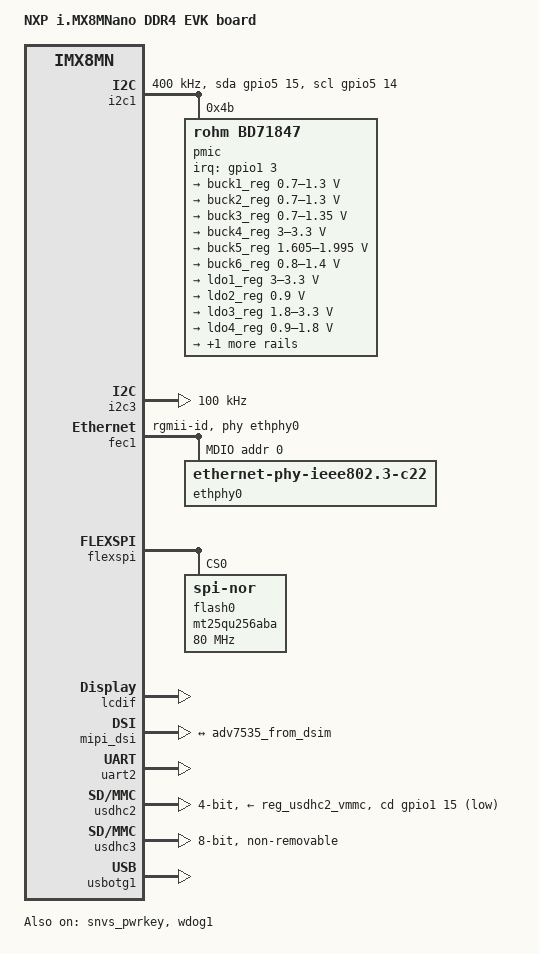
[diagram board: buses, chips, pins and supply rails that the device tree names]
// SPDX-License-Identifier: (GPL-2.0+ OR MIT)
/*
 * Copyright 2019 NXP
 */

/dts-v1/;

#include <dt-bindings/usb/pd.h>
#include "imx8mn.dtsi"
#include "imx8mn-evk.dtsi"

/ {
	model = "NXP i.MX8MNano DDR4 EVK board";
	compatible = "fsl,imx8mn-ddr4-evk", "fsl,imx8mn";
};

&A53_0 {
	cpu-supply = <&buck2_reg>;
};

&A53_1 {
	cpu-supply = <&buck2_reg>;
};

&A53_2 {
	cpu-supply = <&buck2_reg>;
};

&A53_3 {
	cpu-supply = <&buck2_reg>;
};

&ddrc {
	operating-points-v2 = <&ddrc_opp_table>;

	ddrc_opp_table: opp-table {
		compatible = "operating-points-v2";

		opp-25M {
			opp-hz = /bits/ 64 <25000000>;
		};

		opp-100M {
			opp-hz = /bits/ 64 <100000000>;
		};

		opp-600M {
			opp-hz = /bits/ 64 <600000000>;
		};
	};
};

&i2c1 {
	pmic@4b {
		compatible = "rohm,bd71847";
		reg = <0x4b>;
		pinctrl-names = "default";
		pinctrl-0 = <&pinctrl_pmic>;
		interrupt-parent = <&gpio1>;
		interrupts = <3 IRQ_TYPE_LEVEL_LOW>;
		rohm,reset-snvs-powered;

		regulators {
			buck1_reg: BUCK1 {
				regulator-name = "buck1";
				regulator-min-microvolt = <700000>;
				regulator-max-microvolt = <1300000>;
				regulator-boot-on;
				regulator-always-on;
				regulator-ramp-delay = <1250>;
			};

			buck2_reg: BUCK2 {
				regulator-name = "buck2";
				regulator-min-microvolt = <700000>;
				regulator-max-microvolt = <1300000>;
				regulator-boot-on;
				regulator-always-on;
				regulator-ramp-delay = <1250>;
			};

			buck3_reg: BUCK3 {
				// BUCK5 in datasheet
				regulator-name = "buck3";
				regulator-min-microvolt = <700000>;
				regulator-max-microvolt = <1350000>;
			};

			buck4_reg: BUCK4 {
				// BUCK6 in datasheet
				regulator-name = "buck4";
				regulator-min-microvolt = <3000000>;
				regulator-max-microvolt = <3300000>;
				regulator-boot-on;
				regulator-always-on;
			};

			buck5_reg: BUCK5 {
				// BUCK7 in datasheet
				regulator-name = "buck5";
				regulator-min-microvolt = <1605000>;
				regulator-max-microvolt = <1995000>;
				regulator-boot-on;
				regulator-always-on;
			};

			buck6_reg: BUCK6 {
				// BUCK8 in datasheet
				regulator-name = "buck6";
				regulator-min-microvolt = <800000>;
				regulator-max-microvolt = <1400000>;
				regulator-boot-on;
				regulator-always-on;
			};

			ldo1_reg: LDO1 {
				regulator-name = "ldo1";
				regulator-min-microvolt = <1600000>;
				regulator-max-microvolt = <3300000>;
				regulator-boot-on;
				regulator-always-on;
			};

			ldo2_reg: LDO2 {
				regulator-name = "ldo2";
				regulator-min-microvolt = <800000>;
				regulator-max-microvolt = <900000>;
				regulator-boot-on;
				regulator-always-on;
			};

			ldo3_reg: LDO3 {
				regulator-name = "ldo3";
				regulator-min-microvolt = <1800000>;
				regulator-max-microvolt = <3300000>;
				regulator-boot-on;
				regulator-always-on;
			};

			ldo4_reg: LDO4 {
				regulator-name = "ldo4";
				regulator-min-microvolt = <900000>;
				regulator-max-microvolt = <1800000>;
				regulator-boot-on;
				regulator-always-on;
			};

			ldo6_reg: LDO6 {
				regulator-name = "ldo6";
				regulator-min-microvolt = <900000>;
				regulator-max-microvolt = <1800000>;
				regulator-boot-on;
				regulator-always-on;
			};
		};
	};
};

&i2c3 {
	clock-frequency = <100000>;
};

&fec1 {
	pinctrl-names = "default";
	pinctrl-0 = <&pinctrl_fec1>;
	phy-mode = "rgmii-id";
	phy-handle = <&ethphy0>;
	fsl,magic-packet;
	status = "okay";

	mdio {
		#address-cells = <1>;
		#size-cells = <0>;

		ethphy0: ethernet-phy@0 {
			compatible = "ethernet-phy-ieee802.3-c22";
			reg = <0>;
			at803x,led-act-blind-workaround;
			at803x,eee-disabled;
			at803x,vddio-1p8v;
		};
	};
};

&flexspi {
	pinctrl-names = "default";
	pinctrl-0 = <&pinctrl_flexspi0>;
	status = "okay";

	flash0: mt25qu256aba@0 {
		reg = <0>;
		compatible = "jedec,spi-nor";
		spi-max-frequency = <80000000>;
		spi-tx-bus-width = <4>;
		spi-rx-bus-width = <4>;
	};
};

&i2c1 {	
	clock-frequency = <400000>;
	pinctrl-names = "default", "gpio";
	pinctrl-0 = <&pinctrl_i2c1>;
	pinctrl-1 = <&pinctrl_i2c1_gpio>;
	scl-gpios = <&gpio5 14 GPIO_ACTIVE_HIGH>;
	sda-gpios = <&gpio5 15 GPIO_ACTIVE_HIGH>;
	status = "okay";

	pmic@4b {
		compatible = "rohm,bd71847";
		reg = <0x4b>;
		pinctrl-0 = <&pinctrl_pmic>;
		interrupt-parent = <&gpio1>;
		interrupts = <3 GPIO_ACTIVE_LOW>;
		rohm,reset-snvs-powered;

		regulators {
			buck1_reg: BUCK1 {
				regulator-name = "BUCK1";
				regulator-min-microvolt = <700000>;
				regulator-max-microvolt = <1300000>;
				regulator-boot-on;
				regulator-always-on;
				regulator-ramp-delay = <1250>;
			};

			buck2_reg: BUCK2 {
				regulator-name = "BUCK2";
				regulator-min-microvolt = <700000>;
				regulator-max-microvolt = <1300000>;
				regulator-boot-on;
				regulator-always-on;
				regulator-ramp-delay = <1250>;
			};

			buck3_reg: BUCK3 {
				// BUCK5 in datasheet
				regulator-name = "BUCK3";
				regulator-min-microvolt = <700000>;
				regulator-max-microvolt = <1350000>;
			};

			buck4_reg: BUCK4 {
				// BUCK6 in datasheet
				regulator-name = "BUCK4";
				regulator-min-microvolt = <3000000>;
				regulator-max-microvolt = <3300000>;
				regulator-boot-on;
				regulator-always-on;
			};

			buck5_reg: BUCK5 {
				// BUCK7 in datasheet
				regulator-name = "BUCK5";
				regulator-min-microvolt = <1605000>;
				regulator-max-microvolt = <1995000>;
				regulator-boot-on;
				regulator-always-on;
			};

			buck6_reg: BUCK6 {
				// BUCK8 in datasheet
				regulator-name = "BUCK6";
				regulator-min-microvolt = <800000>;
				regulator-max-microvolt = <1400000>;
				regulator-boot-on;
				regulator-always-on;
			};

			ldo1_reg: LDO1 {
				regulator-name = "LDO1";
				regulator-min-microvolt = <3000000>;
				regulator-max-microvolt = <3300000>;
				regulator-boot-on;
				regulator-always-on;
			};

			ldo2_reg: LDO2 {
				regulator-name = "LDO2";
				regulator-min-microvolt = <900000>;
				regulator-max-microvolt = <900000>;
				regulator-boot-on;
				regulator-always-on;
			};

			ldo3_reg: LDO3 {
				regulator-name = "LDO3";
				regulator-min-microvolt = <1800000>;
				regulator-max-microvolt = <3300000>;
				regulator-boot-on;
				regulator-always-on;
			};

			ldo4_reg: LDO4 {
				regulator-name = "LDO4";
				regulator-min-microvolt = <900000>;
				regulator-max-microvolt = <1800000>;
				regulator-boot-on;
				regulator-always-on;
			};

			ldo6_reg: LDO6 {
				regulator-name = "LDO6";
				regulator-min-microvolt = <900000>;
				regulator-max-microvolt = <1800000>;
				regulator-boot-on;
				regulator-always-on;
			};
		};
	};
};

&lcdif {
	status = "okay";
};

&mipi_dsi {
	status = "okay";

	port@1 {
		dsim_to_adv7535: endpoint {
			remote-endpoint = <&adv7535_from_dsim>;
			attach-bridge;
		};
	};
};

&snvs_pwrkey {
	status = "okay";
};

&uart2 { /* console */
	pinctrl-names = "default";
	pinctrl-0 = <&pinctrl_uart2>;
	status = "okay";
};

&usdhc2 {
	pinctrl-names = "default", "state_100mhz", "state_200mhz";
	pinctrl-0 = <&pinctrl_usdhc2>, <&pinctrl_usdhc2_gpio>;
	pinctrl-1 = <&pinctrl_usdhc2_100mhz>, <&pinctrl_usdhc2_gpio>;
	pinctrl-2 = <&pinctrl_usdhc2_200mhz>, <&pinctrl_usdhc2_gpio>;
	cd-gpios = <&gpio1 15 GPIO_ACTIVE_LOW>;
	bus-width = <4>;
	vmmc-supply = <&reg_usdhc2_vmmc>;
	status = "okay";
};

&usdhc3 {
	pinctrl-names = "default", "state_100mhz", "state_200mhz";
	pinctrl-0 = <&pinctrl_usdhc3>;
	pinctrl-1 = <&pinctrl_usdhc3_100mhz>;
	pinctrl-2 = <&pinctrl_usdhc3_200mhz>;
	bus-width = <8>;
	non-removable;
	status = "okay";
};

&wdog1 {
	pinctrl-names = "default";
	pinctrl-0 = <&pinctrl_wdog>;
	fsl,ext-reset-output;
	status = "okay";
};

&usbotg1 {
	status = "okay";
	extcon = <&ptn5110>;
};
